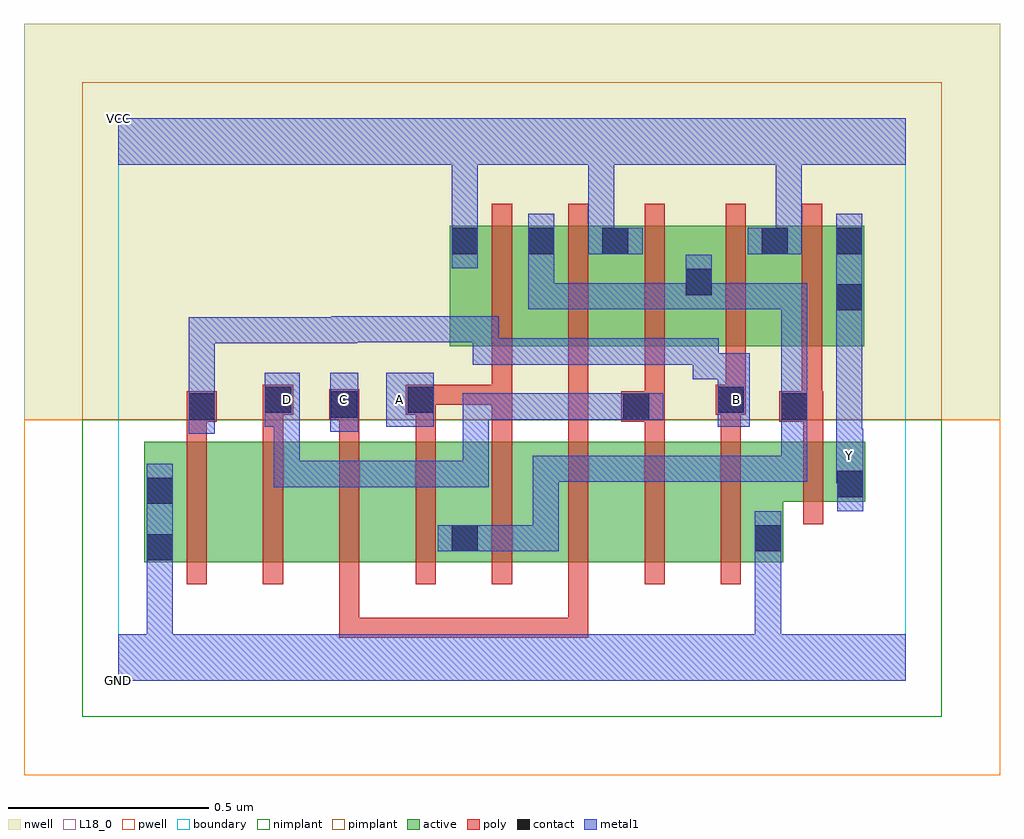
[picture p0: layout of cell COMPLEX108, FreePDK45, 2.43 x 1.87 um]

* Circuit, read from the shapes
.subckt COMPLEX108 A B C D GND VCC Y
M1 n1 B GND VSUBS nfet w=0.3u l=0.05u
M2 n2 D n1 VSUBS nfet w=0.3u l=0.05u
M3 n3 C n2 VSUBS nfet w=0.3u l=0.05u
M4 n4 A n3 VSUBS nfet w=0.3u l=0.05u
M5 n5 A n4 VSUBS nfet w=0.3u l=0.05u
M6 n6 C n5 VSUBS nfet w=0.3u l=0.05u
M7 n7 D n6 VSUBS nfet w=0.3u l=0.05u
M8 GND B n7 VSUBS nfet w=0.3u l=0.05u
M9 Y n4 GND VSUBS nfet w=0.15u l=0.05u
M10 n4 A VCC n8 pfet w=0.3u l=0.05u
M11 VCC C n4 n8 pfet w=0.3u l=0.05u
M12 n4 D VCC n8 pfet w=0.3u l=0.05u
M13 VCC B n4 n8 pfet w=0.3u l=0.05u
M14 Y n4 VCC n8 pfet w=0.3u l=0.05u
.ends

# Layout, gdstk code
import gdstk
lib = gdstk.Library(unit=1e-6, precision=1e-09)
def R(c, l, rs):  # rectangles x0, y0, x1, y1
    for r in rs: c.add(gdstk.rectangle(r[:2], r[2:], *l))
def A(c, l, x, y, w, h, nx, ny, dx, dy):  # array of equal rectangles
    R(c, l, [(x+i*dx, y+j*dy, x+i*dx+w, y+j*dy+h) for i in range(nx) for j in range(ny)])
active = (1, 0)
pwell = (2, 0)
nwell = (3, 0)
nimplant = (4, 0)
pimplant = (5, 0)
poly = (9, 0)
contact = (10, 0)
metal1 = (11, 0)
L18_0 = (18, 0)
boundary = (235, 0)

complex108 = lib.new_cell('COMPLEX108')
R(complex108, active, [(0.065,0.295,0.29,0.595), (0.065,0.295,0.14,0.595), (0.29,0.295,0.48,0.595), (0.48,0.295,0.67,0.595), (0.67,0.295,0.9,0.595), (0.825,0.295,1.05,0.595), (0.825,0.295,0.9,0.517), (1.05,0.295,1.24,0.595), (1.24,0.295,1.43,0.595), (1.43,0.295,1.655,0.595), (1.58,0.295,1.655,0.582), (1.58,0.445,1.86,0.595), (1.785,0.445,1.86,0.595), (0.825,0.832,1.09,1.132), (1.015,0.832,1.275,1.132), (1.2,0.832,1.482,1.132), (1.407,0.832,1.672,1.132), (1.597,0.832,1.857,1.132), (1.782,0.832,1.857,1.132), (1.015,0.915,1.09,1.132), (1.407,0.915,1.482,1.132), (0.825,1.007,0.9,1.132), (1.2,1.007,1.275,1.132), (1.597,1.007,1.672,1.132)])
R(complex108, pwell, [(-0.235,-0.235,2.195,0.65)])
R(complex108, nwell, [(-0.235,0.65,2.195,1.635)])
R(complex108, nimplant, [(-0.09,-0.09,2.05,0.65)])
R(complex108, pimplant, [(-0.09,0.65,2.05,1.49)])
A(complex108, poly, 0.17, 0.24, 0.05, 0.41, 8, 1, 0.19, 0)
A(complex108, poly, 0.93, 0.777, 0.05, 0.41, 3, 1, 0.19, 0)
R(complex108, poly, [(0.55,0.107,0.6,0.157), (0.55,0.107,0.6,0.157), (0.55,0.107,0.6,0.157), (0.55,0.107,0.6,0.29), (0.55,0.107,0.732,0.157), (0.682,0.107,0.732,0.157), (0.682,0.107,0.732,0.157), (0.682,0.107,0.732,0.157), (0.682,0.107,1.037,0.157), (0.987,0.107,1.037,0.157), (0.987,0.107,1.037,0.157), (0.987,0.107,1.037,0.157), (0.987,0.107,1.17,0.157), (1.12,0.107,1.17,0.157), (1.12,0.107,1.17,0.29), (1.705,0.39,1.755,0.65), (0.17,0.6,0.22,0.695), (0.36,0.6,0.41,0.712), (0.55,0.6,0.6,0.7), (0.74,0.6,0.79,0.712), (0.93,0.6,0.98,0.737), (1.12,0.6,1.17,0.782), (1.31,0.6,1.36,0.695), (1.5,0.6,1.55,0.712), (1.705,0.6,1.755,0.695), (0.17,0.645,0.22,0.695), (0.17,0.645,0.22,0.695), (0.17,0.645,0.245,0.72), (1.252,0.645,1.36,0.72), (1.645,0.645,1.755,0.72), (0.525,0.65,0.6,0.725), (0.36,0.662,0.435,0.737), (0.715,0.662,0.79,0.737), (1.487,0.662,1.562,0.737), (1.5,0.662,1.55,0.712), (1.5,0.662,1.55,0.712), (1.31,0.67,1.36,0.827), (1.31,0.67,1.36,0.72), (1.31,0.67,1.36,0.72), (1.702,0.67,1.752,0.827), (1.702,0.67,1.752,0.72), (1.702,0.67,1.752,0.72), (0.74,0.687,0.79,0.737), (0.74,0.687,0.79,0.737), (0.74,0.687,0.98,0.737), (0.93,0.687,0.98,0.737), (0.93,0.687,0.98,0.737), (0.93,0.687,0.98,0.737), (0.93,0.687,0.98,0.827), (1.512,0.687,1.562,0.827), (1.12,0.732,1.17,0.782), (1.12,0.732,1.17,0.782), (1.12,0.732,1.17,0.782), (1.12,0.732,1.17,0.827), (1.512,0.777,1.562,1.187), (1.702,0.777,1.752,1.187)])
R(complex108, contact, [(0.07,0.3,0.135,0.365), (0.83,0.322,0.895,0.387), (1.585,0.322,1.65,0.387), (0.07,0.44,0.135,0.505), (1.79,0.457,1.855,0.522), (0.175,0.65,0.24,0.715), (1.257,0.65,1.322,0.715), (1.65,0.65,1.715,0.715), (0.53,0.655,0.595,0.72), (0.365,0.667,0.43,0.732), (0.72,0.667,0.785,0.732), (1.492,0.667,1.557,0.732), (1.787,0.922,1.852,0.987), (1.412,0.96,1.477,1.025), (0.83,1.062,0.895,1.127), (1.02,1.062,1.085,1.127), (1.205,1.062,1.27,1.127), (1.602,1.062,1.667,1.127), (1.787,1.062,1.852,1.127)])
R(complex108, metal1, [(0,0,1.96,0.115), (0.07,0.05,0.135,0.115), (0.07,0.05,0.135,0.115), (0.07,0.05,0.135,0.33), (1.585,0.05,1.65,0.115), (1.585,0.05,1.65,0.115), (1.585,0.05,1.65,0.352), (0.07,0.265,0.135,0.54), (1.585,0.287,1.65,0.422), (0.795,0.322,0.93,0.387), (0.865,0.322,0.93,0.387), (0.865,0.322,0.93,0.387), (0.865,0.322,1.097,0.387), (1.032,0.322,1.097,0.387), (1.032,0.322,1.097,0.56), (1.79,0.422,1.855,0.557), (0.387,0.482,0.452,0.547), (0.387,0.482,0.595,0.547), (0.387,0.482,0.452,0.697), (0.53,0.482,0.595,0.547), (0.53,0.482,0.595,0.547), (0.53,0.482,0.595,0.547), (0.53,0.482,0.785,0.547), (0.72,0.482,0.785,0.547), (0.72,0.482,0.922,0.547), (0.857,0.482,0.922,0.547), (0.857,0.482,0.922,0.715), (1.787,0.492,1.855,0.627), (1.79,0.492,1.855,0.557), (1.032,0.495,1.097,0.56), (1.032,0.495,1.097,0.56), (1.032,0.495,1.097,0.56), (1.032,0.495,1.34,0.56), (1.275,0.495,1.34,0.56), (1.275,0.495,1.34,0.56), (1.275,0.495,1.34,0.56), (1.275,0.495,1.495,0.56), (1.43,0.495,1.495,0.56), (1.43,0.495,1.495,0.56), (1.43,0.495,1.495,0.56), (1.43,0.495,1.557,0.56), (1.492,0.495,1.557,0.56), (1.492,0.495,1.715,0.56), (1.65,0.495,1.715,0.68), (1.787,0.562,1.852,0.952), (1.787,0.562,1.852,0.627), (1.787,0.562,1.852,0.627), (0.175,0.615,0.24,0.75), (1.65,0.615,1.715,0.68), (1.65,0.615,1.715,0.75), (1.65,0.615,1.715,0.99), (0.527,0.62,0.597,0.767), (0.365,0.632,0.452,0.767), (0.387,0.632,0.452,0.697), (0.387,0.632,0.452,0.697), (0.667,0.632,0.785,0.767), (1.492,0.632,1.572,0.815), (0.857,0.65,0.922,0.715), (0.857,0.65,0.922,0.715), (0.857,0.65,0.922,0.715), (0.857,0.65,1.097,0.715), (1.032,0.65,1.097,0.715), (1.032,0.65,1.097,0.715), (1.032,0.65,1.097,0.715), (1.032,0.65,1.287,0.715), (1.222,0.65,1.287,0.715), (1.222,0.65,1.287,0.715), (1.222,0.65,1.357,0.715), (0.175,0.685,0.24,0.75), (0.175,0.685,0.24,0.905), (1.43,0.75,1.557,0.815), (1.43,0.75,1.495,0.852), (0.882,0.787,0.947,0.852), (0.882,0.787,0.947,0.852), (0.882,0.787,1.097,0.852), (0.882,0.787,0.947,0.907), (1.032,0.787,1.097,0.852), (1.032,0.787,1.097,0.852), (1.032,0.787,1.097,0.852), (1.032,0.787,1.34,0.852), (1.275,0.787,1.34,0.852), (1.275,0.787,1.34,0.852), (1.275,0.787,1.34,0.852), (1.275,0.787,1.495,0.852), (0.175,0.84,0.455,0.905), (0.39,0.84,0.455,0.905), (0.39,0.84,0.455,0.905), (0.39,0.84,0.455,0.905), (0.39,0.84,0.595,0.905), (0.53,0.84,0.595,0.905), (0.53,0.84,0.595,0.905), (0.53,0.84,0.595,0.907), (0.53,0.842,0.732,0.907), (0.667,0.842,0.732,0.907), (0.667,0.842,0.947,0.907), (1.787,0.887,1.852,1.162), (1.02,0.925,1.34,0.99), (1.02,0.925,1.085,1.092), (1.275,0.925,1.34,0.99), (1.275,0.925,1.42,0.99), (1.355,0.925,1.42,0.99), (1.355,0.925,1.477,0.99), (1.412,0.925,1.477,1.06), (1.412,0.925,1.557,0.99), (1.492,0.925,1.557,0.99), (1.492,0.925,1.715,0.99), (1.65,0.925,1.715,0.99), (1.65,0.925,1.715,0.99), (1.65,0.925,1.715,0.99), (0.83,1.027,0.895,1.162), (1.02,1.027,1.085,1.092), (1.02,1.027,1.085,1.162), (1.17,1.062,1.235,1.35), (1.17,1.062,1.305,1.127), (1.567,1.062,1.702,1.127), (1.637,1.062,1.702,1.127), (1.637,1.062,1.702,1.127), (1.637,1.062,1.702,1.35), (0.83,1.097,0.895,1.162), (0.83,1.097,0.895,1.162), (0.83,1.097,0.895,1.35), (0,1.285,1.96,1.4), (1.17,1.285,1.235,1.35), (1.17,1.285,1.235,1.35)])
A(complex108, L18_0, 0.387, 0.667, 0.065, 0.065, 3, 1, 0.14, 0)
R(complex108, L18_0, [(0,0,1.96,0.115), (0.07,0.05,0.135,0.115), (0.07,0.05,0.135,0.115), (0.07,0.05,0.135,0.33), (1.585,0.05,1.65,0.115), (1.585,0.05,1.65,0.115), (1.585,0.05,1.65,0.352), (0.07,0.265,0.135,0.54), (1.585,0.287,1.65,0.422), (1.79,0.422,1.855,0.557), (0.387,0.482,0.452,0.547), (0.387,0.482,0.452,0.697), (0.387,0.482,0.595,0.547), (0.53,0.482,0.595,0.547), (0.53,0.482,0.595,0.547), (0.53,0.482,0.595,0.547), (0.53,0.482,0.785,0.547), (0.72,0.482,0.785,0.547), (0.72,0.482,0.922,0.547), (0.857,0.482,0.922,0.547), (0.857,0.482,0.922,0.715), (1.787,0.492,1.855,0.627), (1.79,0.492,1.855,0.557), (1.787,0.527,1.852,0.592), (1.787,0.562,1.852,0.627), (1.787,0.562,1.852,0.627), (1.787,0.562,1.852,0.952), (0.175,0.615,0.24,0.75), (0.527,0.62,0.597,0.767), (0.365,0.632,0.452,0.767), (0.387,0.632,0.452,0.697), (0.387,0.632,0.452,0.697), (0.667,0.632,0.785,0.767), (1.492,0.632,1.572,0.815), (0.857,0.65,0.922,0.715), (0.857,0.65,0.922,0.715), (0.857,0.65,0.922,0.715), (0.857,0.65,1.097,0.715), (1.032,0.65,1.097,0.715), (1.032,0.65,1.097,0.715), (1.032,0.65,1.097,0.715), (1.032,0.65,1.287,0.715), (1.222,0.65,1.287,0.715), (1.222,0.65,1.287,0.715), (1.222,0.65,1.357,0.715), (1.507,0.667,1.572,0.732), (0.175,0.685,0.24,0.75), (0.175,0.685,0.24,0.905), (1.43,0.75,1.495,0.852), (1.43,0.75,1.557,0.815), (0.882,0.787,0.947,0.852), (0.882,0.787,0.947,0.852), (0.882,0.787,0.947,0.907), (0.882,0.787,1.097,0.852), (1.032,0.787,1.097,0.852), (1.032,0.787,1.097,0.852), (1.032,0.787,1.097,0.852), (1.032,0.787,1.34,0.852), (1.275,0.787,1.34,0.852), (1.275,0.787,1.34,0.852), (1.275,0.787,1.34,0.852), (1.275,0.787,1.495,0.852), (0.175,0.84,0.455,0.905), (0.39,0.84,0.455,0.905), (0.39,0.84,0.455,0.905), (0.39,0.84,0.455,0.905), (0.39,0.84,0.595,0.905), (0.53,0.84,0.595,0.905), (0.53,0.84,0.595,0.905), (0.53,0.84,0.595,0.907), (0.53,0.842,0.732,0.907), (0.667,0.842,0.732,0.907), (0.667,0.842,0.947,0.907), (1.787,0.887,1.852,1.162), (0.83,1.027,0.895,1.162), (1.17,1.062,1.305,1.127), (1.17,1.062,1.235,1.35), (1.567,1.062,1.702,1.127), (1.637,1.062,1.702,1.127), (1.637,1.062,1.702,1.127), (1.637,1.062,1.702,1.35), (0.83,1.097,0.895,1.162), (0.83,1.097,0.895,1.162), (0.83,1.097,0.895,1.35), (0,1.285,1.96,1.4), (1.17,1.285,1.235,1.35), (1.17,1.285,1.235,1.35)])
R(complex108, boundary, [(0,0,1.96,1.4)])
complex108.add(gdstk.Label('A', (0.7,0.7), layer=11, texttype=0))
complex108.add(gdstk.Label('B', (1.54,0.7), layer=11, texttype=0))
complex108.add(gdstk.Label('C', (0.56,0.7), layer=11, texttype=0))
complex108.add(gdstk.Label('D', (0.42,0.7), layer=11, texttype=0))
complex108.add(gdstk.Label('Y', (1.82,0.56), layer=11, texttype=0))
complex108.add(gdstk.Label('VCC', (0,1.4), layer=11, texttype=0))
complex108.add(gdstk.Label('GND', (0,0), layer=11, texttype=0))

lib.write_gds('COMPLEX108.gds')
